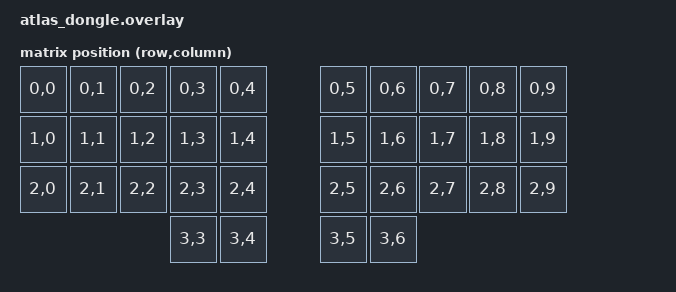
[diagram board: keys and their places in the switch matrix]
#include <dt-bindings/zmk/matrix_transform.h>
#include <zephyr/dt-bindings/input/input-event-codes.h>
#include <input/processors/temp_layer.dtsi>
#include <input/processors/scaler.dtsi>
#include <input/processors/code_mapper.dtsi>

/ {
    chosen {
        zmk,kscan = &mock_kscan;
        zmk,physical-layout = &physical_layout0;
    };

    mock_kscan: mock_kscan_0 {
        compatible = "zmk,kscan-mock";
        columns = <0>;
        rows = <0>;
        events = <0>;
    };

    default_transform: keymap_transform_0 {
        compatible = "zmk,matrix-transform";
        columns = <10>;
        rows = <4>;
//             | SW01  | SW02  | SW03  | SW04  | SW05  |  | SW05  | SW04  | SW03  | SW02  | SW01  |
//             | SW06  | SW07  | SW08  | SW09  | SW10  |  | SW10  | SW09  | SW08  | SW07  | SW06  | 
//             | SW11  | SW12  | SW13  | SW14  | SW15  |  | SW15  | SW14  | SW13  | SW12  | SW11  |
//                                     | SW16  | SW17  |  | SW17  | SW16  |  
        map = <
                RC(0,0) RC(0,1) RC(0,2) RC(0,3) RC(0,4)    RC(0,5) RC(0,6) RC(0,7) RC(0,8) RC(0,9)
                RC(1,0) RC(1,1) RC(1,2) RC(1,3) RC(1,4)    RC(1,5) RC(1,6) RC(1,7) RC(1,8) RC(1,9)
                RC(2,0) RC(2,1) RC(2,2) RC(2,3) RC(2,4)    RC(2,5) RC(2,6) RC(2,7) RC(2,8) RC(2,9)
                                        RC(3,3) RC(3,4)    RC(3,5) RC(3,6)         
        >;
    };

    physical_layout0: physical_layout_0 {
        compatible = "zmk,physical-layout";
        display-name = "Default Layout";
        transform = <&default_transform>;
    };

    /* Input split proxy - receives events from peripherals */
    split_inputs {
        #address-cells = <1>;
        #size-cells = <0>;

        trackpoint_split: trackpoint_split@0 {
            compatible = "zmk,input-split";
            reg = <0>;
        };

        trackball_split: trackball_split@1 {
            compatible = "zmk,input-split";
            reg = <1>;
        };
    };

    /* Scroll mode processor - converts XY to scroll wheel */
    zip_xy_to_scroll: zip_xy_to_scroll {
        compatible = "zmk,input-processor-code-mapper";
        #input-processor-cells = <0>;
        type = <INPUT_EV_REL>;
        map = <INPUT_REL_X INPUT_REL_HWHEEL>, <INPUT_REL_Y INPUT_REL_WHEEL>;
    };

    /* Trackpoint listener - converts to HID mouse reports */
    trackpoint_listener: trackpoint_listener {
        compatible = "zmk,input-listener";
        status = "okay";
        device = <&trackpoint_split>;
        /* Swap XY + 2x sensitivity + auto mouse layer */
        input-processors = <&zip_xy_swap_mapper>, <&zip_xy_scaler 2 1>, <&zip_temp_layer 5 1000>;

        /* Layer 6: Scroll mode - swap + reduced sensitivity */
        scroll {
            layers = <6>;
            input-processors = <&zip_xy_swap_mapper>, <&zip_xy_scaler 1 4>, <&zip_xy_to_scroll>;
        };
    };

    /* Trackball listener - same layer-aware processing */
    trackball_listener: trackball_listener {
        compatible = "zmk,input-listener";
        status = "okay";
        device = <&trackball_split>;
        /* 1x sensitivity + auto mouse layer */
        input-processors = <&zip_xy_scaler 1 1>, <&zip_temp_layer 5 1000>;

        /* Layer 6: Scroll mode - reduced sensitivity */
        scroll {
            layers = <6>;
            input-processors = <&zip_xy_scaler 1 4>, <&zip_xy_to_scroll>;
        };
    };
};

/* Temp layer processor config for mouse layer */
/* NOTE: removed require-prior-idle-ms and excluded-positions for debugging */

